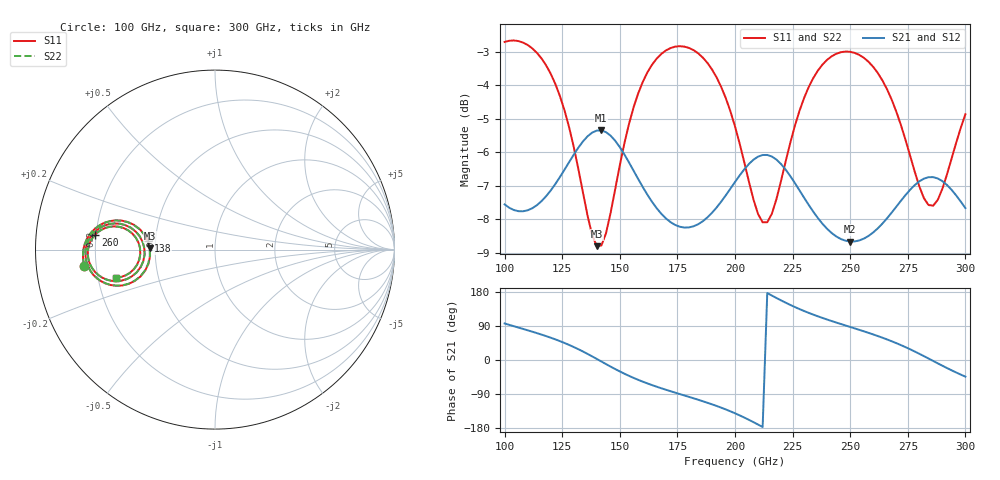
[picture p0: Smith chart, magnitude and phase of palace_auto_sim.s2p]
#  GHZ S DB R 50
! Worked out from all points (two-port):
!   101 points, 100 GHz to 300 GHz, reference 50 ohm
!   highest |S21| = -5.35 dB at 142 GHz (marker M1); lowest = -8.7 dB at 250 GHz (marker M2)
!   |S21| within 3 dB of the highest: start of sweep to 240.9 GHz; 260.8 GHz to end of sweep
!   lowest |S11| = -8.8 dB at 140 GHz (marker M3), VSWR 2.14, Z = 23.4 + j0.336 ohm
!   |S11| at or under -10 dB: nowhere
!   |S22| runs from -8.8 to -2.7 dB; largest |S21 - S12| = 5.5e-14
!   S11 on the Smith chart (normalised r, x): 100 GHz: 0.15, -0.06; 138 GHz: 0.45, +0.05; 260 GHz: 0.20, +0.06; 300 GHz: 0.28, -0.13
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100  -2.70 -172.9  -7.56 96.4  -7.56 96.4  -2.70 -172.9
112  -2.89 175.4  -7.67 74.7  -7.67 74.7  -2.89 175.4
122  -3.95 166.4  -6.95 54.5  -6.95 54.5  -3.95 166.5
134  -7.20 164.7  -5.67 22.4  -5.67 22.4  -7.18 164.8
138  -8.47 172.7  -5.41 9.5  -5.41 9.5  -8.44 172.8
140  -8.81 179.0  -5.35 2.8  -5.35 2.8  -8.77 179.0
142  -8.79 -174.1  -5.35 -4.0  -5.35 -4.0  -8.75 -174.2
154  -5.15 -158.8  -6.30 -41.9  -6.30 -41.9  -5.14 -158.9
168  -3.06 -170.1  -7.84 -74.5  -7.84 -74.5  -3.06 -170.2
184  -3.04 175.5  -8.15 -104.9  -8.15 -104.9  -3.04 175.5
200  -5.22 164.8  -6.89 -140.6  -6.89 -140.6  -5.23 164.7
208  -7.41 170.0  -6.22 -164.0  -6.22 -164.0  -7.42 169.9
214  -8.09 -175.6  -6.08 176.6  -6.08 176.6  -8.11 -175.6
224  -5.71 -161.5  -6.71 145.3  -6.71 145.3  -5.72 -161.5
234  -3.78 -166.0  -7.78 119.7  -7.78 119.7  -3.78 -166.0
250  -2.99 -179.2  -8.67 87.2  -8.67 87.2  -3.00 -179.2
260  -3.45 172.9  -8.40 67.4  -8.40 67.4  -3.45 172.9
268  -4.42 167.8  -7.80 49.5  -7.80 49.5  -4.43 167.8
276  -6.10 167.5  -7.12 28.3  -7.12 28.3  -6.10 167.5
284  -7.58 178.9  -6.74 3.9  -6.74 3.9  -7.59 178.9
290  -7.09 -169.1  -6.86 -15.1  -6.86 -15.1  -7.10 -169.1
300  -4.86 -164.1  -7.67 -43.9  -7.67 -43.9  -4.86 -164.1
